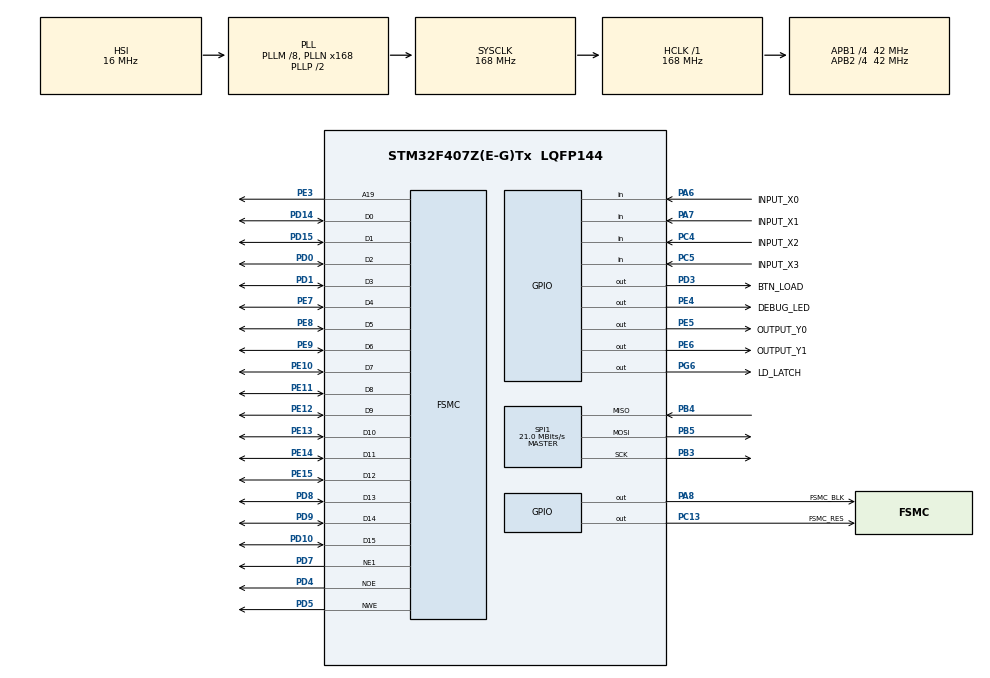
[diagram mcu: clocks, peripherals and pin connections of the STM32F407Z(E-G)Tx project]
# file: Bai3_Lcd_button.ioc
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FSMC.AddressSetupTime1=0xf
FSMC.BusTurnAroundDuration1=0
FSMC.DataSetupTime1=60
FSMC.ExtendedAddressSetupTime1=8
FSMC.ExtendedBusTurnAroundDuration1=0
FSMC.ExtendedDataSetupTime1=9
FSMC.ExtendedMode1=FSMC_EXTENDED_MODE_ENABLE
Mcu.Family=STM32F4
Mcu.Name=STM32F407Z(E-G)Tx
Mcu.Package=LQFP144
NVIC.PriorityGroup=NVIC_PRIORITYGROUP_4
NVIC.TIM2_IRQn=true\:0\:0\:false\:false\:true\:true\:true\:true
PA13.Mode=Serial_Wire
PA13.Signal=SYS_JTMS-SWDIO
PA14.Mode=Serial_Wire
PA14.Signal=SYS_JTCK-SWCLK
PA6.GPIO_Label=INPUT_X0
PA6.Signal=GPIO_Input
PA7.GPIO_Label=INPUT_X1
PA7.Signal=GPIO_Input
PA8.GPIO_Label=FSMC_BLK
PA8.Signal=GPIO_Output
PB3.Mode=Full_Duplex_Master
PB3.Signal=SPI1_SCK
PB4.Mode=Full_Duplex_Master
PB4.Signal=SPI1_MISO
PB5.Mode=Full_Duplex_Master
PB5.Signal=SPI1_MOSI
PC13-ANTI_TAMP.GPIO_Label=FSMC_RES
PC13-ANTI_TAMP.Signal=GPIO_Output
PC4.GPIO_Label=INPUT_X2
PC4.Signal=GPIO_Input
PC5.GPIO_Label=INPUT_X3
PC5.Signal=GPIO_Input
PD0.Signal=FSMC_D2_DA2
PD1.Signal=FSMC_D3_DA3
PD10.Signal=FSMC_D15_DA15
PD14.Signal=FSMC_D0_DA0
PD15.Signal=FSMC_D1_DA1
PD3.GPIO_Label=BTN_LOAD
PD3.Signal=GPIO_Output
PD4.Signal=FSMC_NOE
PD5.Signal=FSMC_NWE
PD7.Mode=NorPsramChipSelect1_1
PD7.Signal=FSMC_NE1
PD8.Signal=FSMC_D13_DA13
PD9.Signal=FSMC_D14_DA14
PE10.Signal=FSMC_D7_DA7
PE11.Signal=FSMC_D8_DA8
PE12.Signal=FSMC_D9_DA9
PE13.Signal=FSMC_D10_DA10
PE14.Signal=FSMC_D11_DA11
PE15.Signal=FSMC_D12_DA12
PE3.Signal=FSMC_A19
PE4.GPIO_Label=DEBUG_LED
PE4.Signal=GPIO_Output
PE5.GPIO_Label=OUTPUT_Y0
PE5.Signal=GPIO_Output
PE6.GPIO_Label=OUTPUT_Y1
PE6.Signal=GPIO_Output
PE7.Signal=FSMC_D4_DA4
PE8.Signal=FSMC_D5_DA5
PE9.Signal=FSMC_D6_DA6
PG6.GPIO_Label=LD_LATCH
PG6.Signal=GPIO_Output
PH0-OSC_IN.Mode=HSE-External-Oscillator
PH0-OSC_IN.Signal=RCC_OSC_IN
PH1-OSC_OUT.Mode=HSE-External-Oscillator
PH1-OSC_OUT.Signal=RCC_OSC_OUT
ProjectManager.HeapSize=0x200
ProjectManager.StackSize=0x400
ProjectManager.TargetToolchain=STM32CubeIDE
RCC.48MHZClocksFreq_Value=84000000
RCC.AHBFreq_Value=168000000
RCC.APB1CLKDivider=RCC_HCLK_DIV4
RCC.APB1Freq_Value=42000000
RCC.APB1TimFreq_Value=84000000
RCC.APB2CLKDivider=RCC_HCLK_DIV4
RCC.APB2Freq_Value=42000000
RCC.APB2TimFreq_Value=84000000
RCC.CortexFreq_Value=168000000
RCC.HCLKFreq_Value=168000000
RCC.HSE_VALUE=8000000
RCC.HSI_VALUE=16000000
RCC.LSE_VALUE=32768
RCC.PLLM=8
RCC.PLLN=168
RCC.SYSCLKFreq_VALUE=168000000
RCC.SYSCLKSource=RCC_SYSCLKSOURCE_PLLCLK
RCC.VCOOutputFreq_Value=336000000
SH.FSMC_A19.0=FSMC_A19,A19_1
SH.FSMC_D0_DA0.0=FSMC_D0,16b-d1
SH.FSMC_D10_DA10.0=FSMC_D10,16b-d1
SH.FSMC_D11_DA11.0=FSMC_D11,16b-d1
SH.FSMC_D12_DA12.0=FSMC_D12,16b-d1
SH.FSMC_D13_DA13.0=FSMC_D13,16b-d1
SH.FSMC_D14_DA14.0=FSMC_D14,16b-d1
SH.FSMC_D15_DA15.0=FSMC_D15,16b-d1
SH.FSMC_D1_DA1.0=FSMC_D1,16b-d1
SH.FSMC_D2_DA2.0=FSMC_D2,16b-d1
SH.FSMC_D3_DA3.0=FSMC_D3,16b-d1
SH.FSMC_D4_DA4.0=FSMC_D4,16b-d1
SH.FSMC_D5_DA5.0=FSMC_D5,16b-d1
SH.FSMC_D6_DA6.0=FSMC_D6,16b-d1
SH.FSMC_D7_DA7.0=FSMC_D7,16b-d1
SH.FSMC_D8_DA8.0=FSMC_D8,16b-d1
SH.FSMC_D9_DA9.0=FSMC_D9,16b-d1
SH.FSMC_NOE.0=FSMC_NOE,Lcd1
SH.FSMC_NWE.0=FSMC_NWE,Lcd1
SPI1.BaudRatePrescaler=SPI_BAUDRATEPRESCALER_2
SPI1.CalculateBaudRate=21.0 MBits/s
SPI1.Direction=SPI_DIRECTION_2LINES
SPI1.Mode=SPI_MODE_MASTER
SPI1.VirtualType=VM_MASTER
TIM2.Period=100-1
TIM2.Prescaler=840-1
VP_TIM2_VS_ClockSourceINT.Mode=Internal
board=custom

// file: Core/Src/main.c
/* USER CODE BEGIN Header */
/**
  ******************************************************************************
  * @file           : main.c
  * @brief          : Main program body
  ******************************************************************************
  * @attention
  *
  * <h2><center>&copy; Copyright (c) 2023 STMicroelectronics.
  * All rights reserved.</center></h2>
  *
  * This software component is licensed by ST under BSD 3-Clause license,
  * the "License"; You may not use this file except in compliance with the
  * License. You may obtain a copy of the License at:
  * opensource.org/licenses/BSD-3-Clause
  *
  ******************************************************************************
  */
/* USER CODE END Header */
#include "main.h"
#include "spi.h"
#include "tim.h"
#include "gpio.h"
#include "fsmc.h"

/* USER CODE BEGIN Includes */
#include "software_timer.h"
#include "led_7seg.h"
#include "button.h"
#include "lcd.h"
#include "picture.h"
#include "traffic_fsm.h" // <<< THÊM FILE HEADER CỦA FSM
/* USER CODE END Includes */

/* USER CODE BEGIN PTD */
// (Logic FSM đã được chuyển sang traffic_fsm.h)
/* USER CODE END PTD */

/* USER CODE BEGIN PV */
// (Các biến FSM đã được chuyển sang traffic_fsm.c)
/* USER CODE END PV */

void SystemClock_Config(void);
/* USER CODE BEGIN PFP */
void system_init();
/* USER CODE END PFP */

int main(void)
{

  /* MCU Configuration--------------------------------------------------------*/

  /* Reset of all peripherals, Initializes the Flash interface and the Systick. */
  HAL_Init();

  /* Configure the system clock */
  SystemClock_Config();

  /* Initialize all configured peripherals */
  MX_GPIO_Init();
  MX_TIM2_Init();
  MX_SPI1_Init();
  MX_FSMC_Init();
  /* USER CODE BEGIN 2 */
  system_init();
  fsm_traffic_init(); // <<< KHỞI TẠO MÁY TRẠNG THÁI
  /* USER CODE END 2 */

  /* Infinite loop */
  /* USER CODE BEGIN WHILE */
  while (1)
  {
	  // Chờ cho đến khi cờ timer 50ms được bật lên
	  while(!flag_timer2);
	  flag_timer2 = 0; // Xóa cờ

	  button_Scan(); // Quét trạng thái các nút nhấn

	  fsm_traffic_run(); // <<< CHẠY MÁY TRẠNG THÁI (Đã bao gồm xử lý và hiển thị)

    /* USER CODE END WHILE */

  }
}

void SystemClock_Config(void)
{
  RCC_OscInitTypeDef RCC_OscInitStruct = {0};
  RCC_ClkInitTypeDef RCC_ClkInitStruct = {0};

  /** Configure the main internal regulator output voltage
  */
  __HAL_RCC_PWR_CLK_ENABLE();
  __HAL_PWR_VOLTAGESCALING_CONFIG(PWR_REGULATOR_VOLTAGE_SCALE1);
  /** Initializes the RCC Oscillators according to the specified parameters
  * in the RCC_OscInitTypeDef structure.
  */
  RCC_OscInitStruct.OscillatorType = RCC_OSCILLATORTYPE_HSI;
  RCC_OscInitStruct.HSIState = RCC_HSI_ON;
  RCC_OscInitStruct.HSICalibrationValue = RCC_HSICALIBRATION_DEFAULT;
  RCC_OscInitStruct.PLL.PLLState = RCC_PLL_ON;
  RCC_OscInitStruct.PLL.PLLSource = RCC_PLLSOURCE_HSI;
  RCC_OscInitStruct.PLL.PLLM = 8;
  RCC_OscInitStruct.PLL.PLLN = 168;
  RCC_OscInitStruct.PLL.PLLP = RCC_PLLP_DIV2;
  RCC_OscInitStruct.PLL.PLLQ = 4;
  if (HAL_RCC_OscConfig(&RCC_OscInitStruct) != HAL_OK)
  {
    Error_Handler();
  }
  /** Initializes the CPU, AHB and APB buses clocks
  */
  RCC_ClkInitStruct.ClockType = RCC_CLOCKTYPE_HCLK|RCC_CLOCKTYPE_SYSCLK
                              |RCC_CLOCKTYPE_PCLK1|RCC_CLOCKTYPE_PCLK2;
  RCC_ClkInitStruct.SYSCLKSource = RCC_SYSCLKSOURCE_PLLCLK;
  RCC_ClkInitStruct.AHBCLKDivider = RCC_SYSCLK_DIV1;
  RCC_ClkInitStruct.APB1CLKDivider = RCC_HCLK_DIV4;
  RCC_ClkInitStruct.APB2CLKDivider = RCC_HCLK_DIV4;

  if (HAL_RCC_ClockConfig(&RCC_ClkInitStruct, FLASH_LATENCY_5) != HAL_OK)
  {
    Error_Handler();
  }
}

/* USER CODE BEGIN 4 */
void system_init(){
	  HAL_GPIO_WritePin(OUTPUT_Y0_GPIO_Port, OUTPUT_Y0_Pin, 0);
	  HAL_GPIO_WritePin(OUTPUT_Y1_GPIO_Port, OUTPUT_Y1_Pin, 0);
	  HAL_GPIO_WritePin(DEBUG_LED_GPIO_Port, DEBUG_LED_Pin, 0);
	  timer_init();
	  led7_init();
	  button_init();
	  lcd_init();
	  setTimer2(50); // Thiết lập timer 2 để tạo cờ 'flag_timer2' mỗi 50ms
}

// (Các hàm test_... cũ đã bị xóa khỏi main.c)

/* USER CODE END 4 */

void Error_Handler(void)
{
  __disable_irq();
  while (1)
  {
  }
}

/************************ (C) COPYRIGHT STMicroelectronics *****END OF FILE****/
